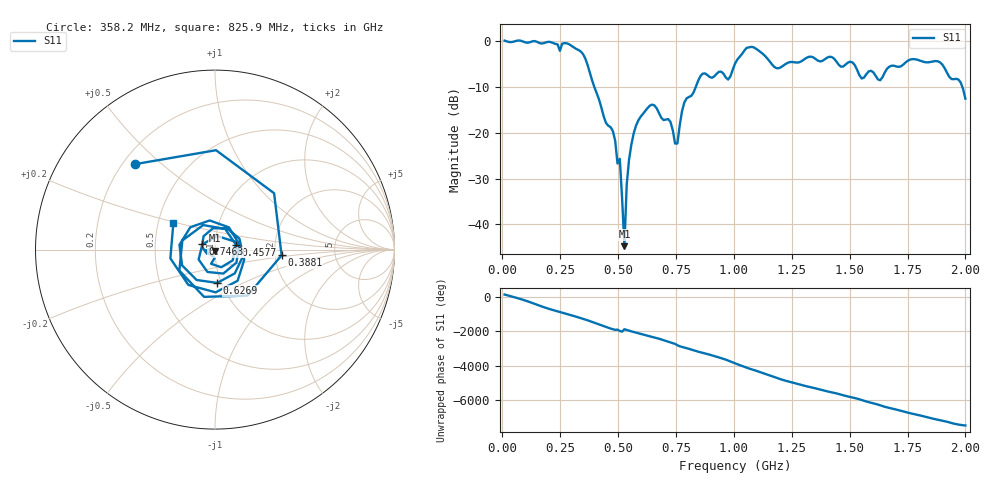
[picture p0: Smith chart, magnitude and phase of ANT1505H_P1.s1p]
!Created with skrf (http://scikit-rf.org).
# Hz S RI R 50.0
!freq ReS11 ImS11
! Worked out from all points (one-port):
!   201 points, 10 MHz to 2 GHz, reference 50 ohm
!   lowest |S11| = -44.8 dB at 527.4 MHz (marker M1), VSWR 1.01, Z = 50.2 - j0.548 ohm
!   |S11| at or under -10 dB: 397.7 MHz to 835.4 MHz (437.8 MHz wide, 71 % of centre); 1.987 GHz to end of sweep
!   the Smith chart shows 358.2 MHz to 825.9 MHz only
!   S11 on the Smith chart (normalised r, x): 358.2 MHz: 0.25, +0.41; 388.1 MHz: 2.17, -0.16; 457.8 MHz: 1.26, +0.07; 626.9 MHz: 0.96, -0.37; 746.3 MHz: 0.87, +0.05; 825.9 MHz: 0.60, +0.19
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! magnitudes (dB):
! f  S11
! 10 MHz  0.1
! 258.8 MHz  -0.5
! 358.2 MHz  -3.7
! 388.1 MHz  -8.6
! 457.8 MHz  -18.4
! 477.6 MHz  -19.6
! 497.6 MHz  -26.7
! 507.5 MHz  -25.7
! 527.4 MHz  -44.8
! 537.4 MHz  -31.3
! 557.2 MHz  -22.6
! 626.9 MHz  -14.6
! 726.4 MHz  -17.6
! 746.3 MHz  -22.3
! 756.2 MHz  -22.3
! 786.1 MHz  -13.4
! 825.9 MHz  -11.2
! 865.7 MHz  -7.1
! 975.1 MHz  -8.4
! 1.005 GHz  -4.9
! 1.075 GHz  -1.2
! 1.184 GHz  -5.9
! 1.254 GHz  -4.5
! 1.502 GHz  -4.4
! 1.632 GHz  -8.5
! 1.751 GHz  -4.2
! 1.891 GHz  -4.6
! 2 GHz  -12.5
